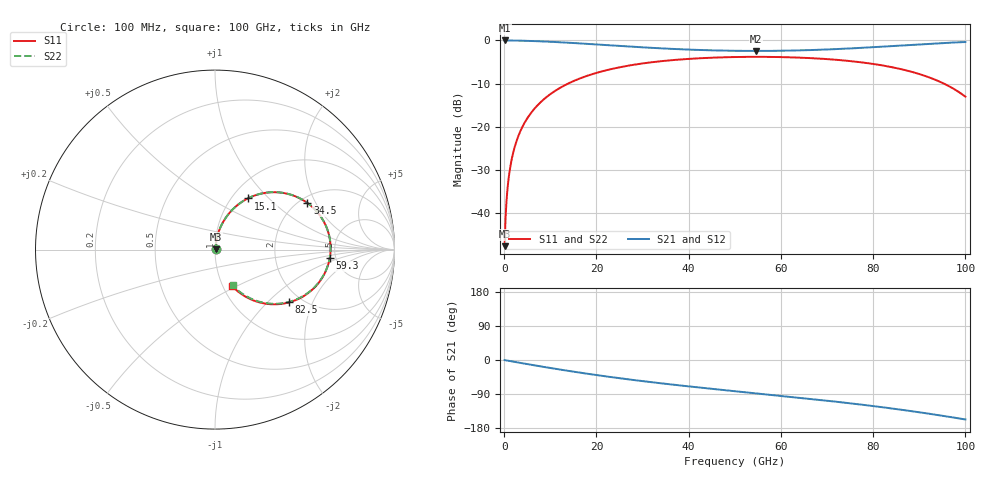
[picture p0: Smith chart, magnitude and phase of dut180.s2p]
! Touchstone file exported from HFSS 2026.1.0
!  File:  C:/ffzhzh/LocalFiles/Ansys_Project_Files/temp_train_RDL_180_1783500364_41296.aedt
!  Generated:  04:47:21 PM Jul  8, 2026
!  Design:  RDL
!  Project:  temp_train_RDL_180_1783500364_41296
! Variables:
!  h_bsmrdl = 2um
!  h_ox = 20um
!  h_rdl = 5um
!  h_sub = 80um
!  h_tmrdl = 3.93um
!  h_tsv = 80um
!  h_via = 3um
!  l_bsmrdl = 300um
!  l_sub = 935.72um
!  l_tmrdl = 535.72um
!  m_sub = 200um
!  pitch = 49.21um
!  r_tsv = 6um
!  s_tmrdl = 10um
!  w_bsmrdl = 18um
!  w_sub = 500um
!  w_tmrdl = 15.87um
!  x_tsv_center1 = 543.655um
!  x_tsv_center2 = 861.655um
!  x_tsv_center3 = 1413.245um
!  x_tsv_center4 = 1731.245um
!  x_tsv_center5 = 2282.835um
!  x_tsv_center6 = 2600.835um
# GHz S MA R 50.000000
! Terminal data exported
! Port[1] = TM_RDL1_1_T1
! Port[2] = TM_RDL1_1_T2
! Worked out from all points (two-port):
!   1000 points, 100 MHz to 100 GHz, reference 50 ohm
!   highest |S21| = -0.03 dB at 100 MHz (marker M1); lowest = -2.5 dB at 54.6 GHz (marker M2)
!   |S21| within 3 dB of the highest: start of sweep to end of sweep
!   lowest |S11| = -47.6 dB at 100 MHz (marker M3), VSWR 1.01, Z = 50.3 + j0.27 ohm
!   |S11| at or under -10 dB: start of sweep to 13.89 GHz; 95.31 GHz to end of sweep
!   |S22| runs from -47.6 to -3.8 dB; largest |S21 - S12| = 1.8e-14
!   S11 on the Smith chart (normalised r, x): 100 MHz: 1.01, +0.01; 15.1 GHz: 1.18, +0.76; 34.5 GHz: 2.21, +1.72; 59.3 GHz: 4.45, -0.73; 82.5 GHz: 1.73, -1.36; 100 GHz: 1.10, -0.47
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0.1  0.004145 40.4  0.9969 -0.2  0.9969 -0.2  0.004145 40.4
! Gamma 0 0 0 0
! Port Impedance 50 0 50 0
0.8  0.021 78.1  0.9961 -1.8  0.9961 -1.8  0.021 78.1
1.1  0.0285 79.9  0.9958 -2.4  0.9958 -2.4  0.0285 79.9
1.4  0.03602 80.7  0.9954 -3.1  0.9954 -3.1  0.03602 80.7
2.4  0.06109 80.7  0.9938 -5.2  0.9938 -5.2  0.06109 80.7
3.7  0.09328 78.9  0.9906 -8.0  0.9906 -8.0  0.09328 78.9
5.6  0.1391 75.4  0.9841 -12.1  0.9841 -12.1  0.1391 75.4
8.1  0.1966 70.5  0.9728 -17.2  0.9728 -17.2  0.1966 70.5
11.3  0.2652 64.3  0.955 -23.7  0.955 -23.7  0.2652 64.4
15.1  0.3387 57.3  0.9305 -30.9  0.9305 -30.9  0.3387 57.3
16.8  0.3686 54.3  0.9189 -34.0  0.9189 -34.0  0.3686 54.3
24.5  0.4812 41.4  0.8651 -47.2  0.8651 -47.2  0.4811 41.5
33.4  0.5688 28.2  0.8109 -60.6  0.8109 -60.6  0.5688 28.3
34.5  0.5769 26.7  0.8053 -62.2  0.8053 -62.2  0.5769 26.8
50.1  0.641 6.8  0.7567 -82.4  0.7567 -82.4  0.6409 7.0
54.6  0.6442 1.4  0.7541 -87.9  0.7541 -87.9  0.6442 1.5
59.3  0.641 -4.3  0.7568 -93.7  0.7568 -93.7  0.641 -4.1
66.7  0.6215 -13.5  0.7724 -103.1  0.7724 -103.1  0.6215 -13.2
82.5  0.5071 -35.4  0.8484 -125.4  0.8484 -125.4  0.5071 -35.0
83.4  0.4969 -36.8  0.8541 -126.9  0.8541 -126.9  0.4969 -36.3
92.7  0.3631 -52.1  0.9157 -142.8  0.9157 -142.8  0.3631 -51.4
100  0.2228 -64.9  0.9562 -156.9  0.9562 -156.9  0.2229 -63.6
